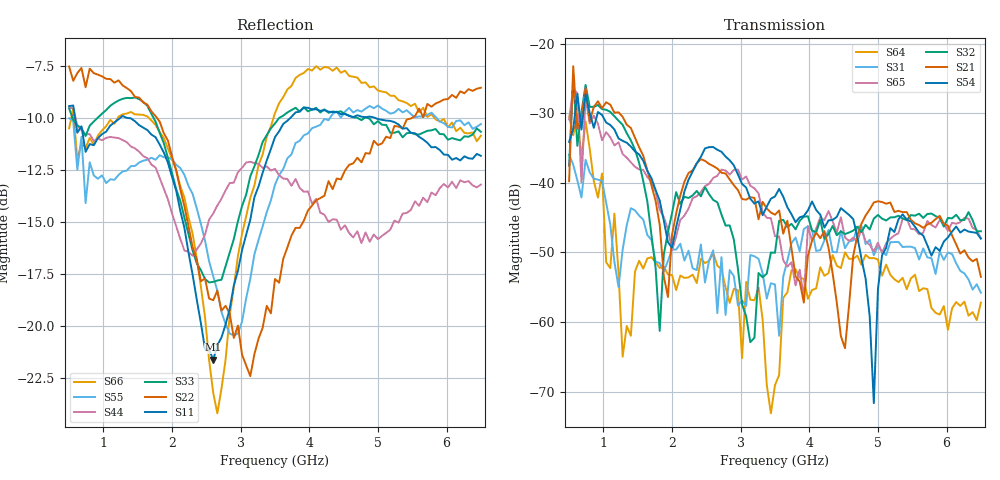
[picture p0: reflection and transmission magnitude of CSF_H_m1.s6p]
!Keysight Technologies,M9804A,MY58100912,A.14.10.03
!Date: Thursday, April 27, 2023 10:28:33
!Correction: S11(C  6-Port  )
!S12(C  6-Port  )
!S13(C  6-Port  )
!S14(C  6-Port  )
!S15(C  6-Port  )
!S16(C  6-Port  )
!S21(C  6-Port  )
!S22(C  6-Port  )
!S23(C  6-Port  )
!S24(C  6-Port  )
!S25(C  6-Port  )
!S26(C  6-Port  )
!S31(C  6-Port  )
!S32(C  6-Port  )
!S33(C  6-Port  )
!S34(C  6-Port  )
!S35(C  6-Port  )
!S36(C  6-Port  )
!S41(C  6-Port  )
!S42(C  6-Port  )
!S43(C  6-Port  )
!S44(C  6-Port  )
!S45(C  6-Port  )
!S46(C  6-Port  )
!S51(C  6-Port  )
!S52(C  6-Port  )
!S53(C  6-Port  )
!S54(C  6-Port  )
!S55(C  6-Port  )
!S56(C  6-Port  )
!S61(C  6-Port  )
!S62(C  6-Port  )
!S63(C  6-Port  )
!S64(C  6-Port  )
!S65(C  6-Port  )
!S66(C  6-Port  )
!S6P File: Measurement: :
# Hz S  RI  R 50
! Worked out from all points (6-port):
!   101 points, 500 MHz to 6.5 GHz, reference 50 ohm
!   strongest paths, dB at 500 MHz, 2 GHz, 3.5 GHz, 5 GHz, 6.5 GHz:
!     S54: -34.1, -49.3, -42.0, -55.3, -48.0
!     S21: -39.8, -47.5, -44.6, -42.7, -53.5
!     S32: -37.6, -44.4, -50.1, -44.6, -47.0
!     S65: -30.9, -49.7, -47.7, -48.6, -48.0
!     S31: -36.0, -49.6, -54.6, -49.1, -55.8
!     S64: -30.5, -53.3, -69.1, -51.0, -57.2
!   lowest |S11| = -21.6 dB at 2.6 GHz (marker M1), VSWR 1.18, Z = 42.6 + j2 ohm
!   |S11| at or under -10 dB: 588.2 MHz to 1.238 GHz (649.4 MHz wide, 71.1 % of centre); 1.396 GHz to 3.718 GHz (2.322 GHz wide, 90.8 % of centre); 4.972 GHz to end of sweep
